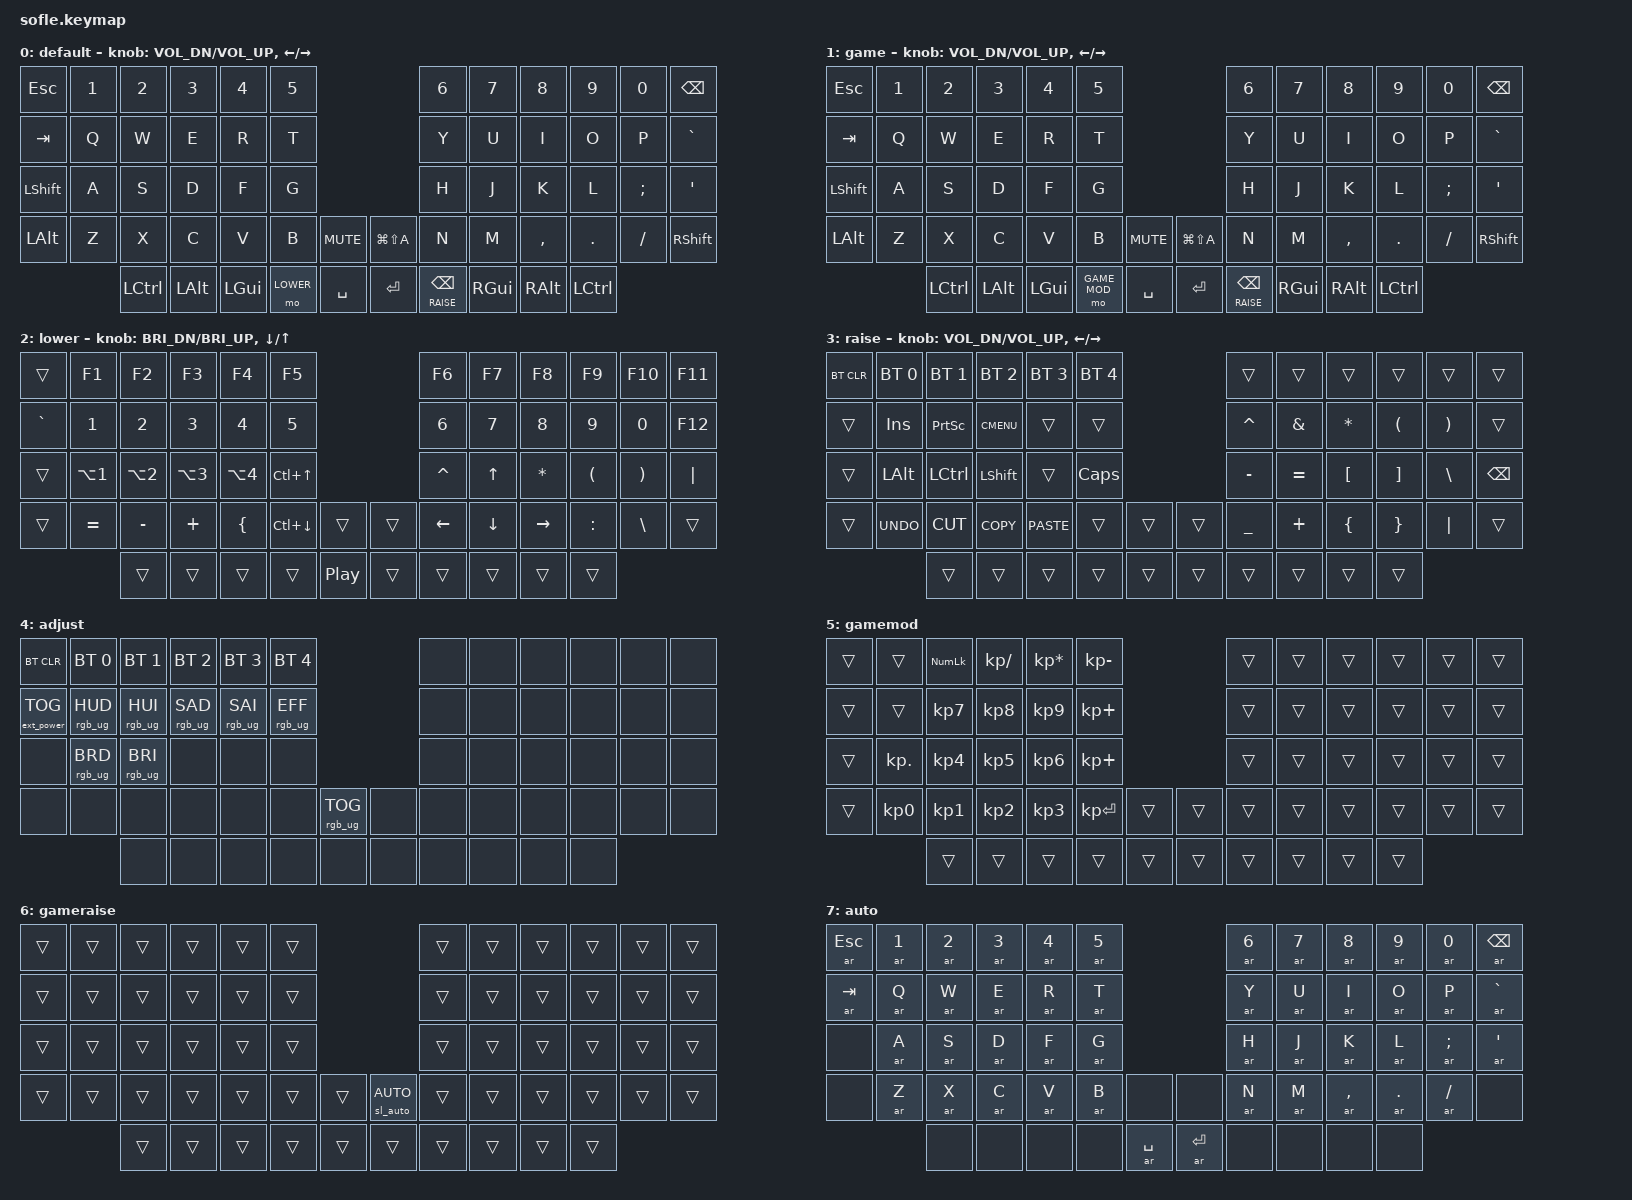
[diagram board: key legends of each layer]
/*
 * Copyright (c) 2020 The ZMK Contributors
 *
 * SPDX-License-Identifier: MIT
 */

#include <behaviors.dtsi>
#include <dt-bindings/zmk/keys.h>
#include <dt-bindings/zmk/bt.h>
#include <dt-bindings/zmk/rgb.h>
#include <dt-bindings/zmk/ext_power.h>

// GAME must sit below LOWER/RAISE so those layers still override it.
#define BASE 0
#define GAME 1
#define LOWER 2
#define RAISE 3
#define ADJUST 4
#define GAME_MOD 5
#define GAME_RAISE 6 // GAME + RAISE: knob arms auto-repeat
#define AUTO 7 // sticky: next key toggles auto-repeat

/ {

    behaviors {
        // &ar KEY: toggle auto-repeat of KEY with a random 200-1000 ms pause between taps
        ar: auto_repeat {
            compatible = "zmk,behavior-auto-repeat";
            #binding-cells = <1>;
            min-delay-ms = <200>;
            max-delay-ms = <1000>;
            hold-ms = <100>;
            game-layer = <GAME>;
        };

        // Sticky AUTO layer, 3 s to press the key to (un)repeat
        sl_auto: sticky_layer_auto {
            compatible = "zmk,behavior-sticky-key";
            #binding-cells = <1>;
            bindings = <&mo>;
            release-after-ms = <3000>;
            quick-release;
        };
    };

    combos {
        compatible = "zmk,combos";
        combo_backspace {
            timeout-ms = <50>;
            key-positions = <13 14>;
            layers = <BASE LOWER RAISE ADJUST>;
            bindings = <&kp BSPC>;
        };
        combo_return {
            timeout-ms = <50>;
            key-positions = <25 26>;
            layers = <BASE LOWER RAISE ADJUST>;
            bindings = <&kp RET>;
        };
        // Toggle GAME: press left + right encoder knobs together
        combo_game_toggle {
            timeout-ms = <100>;
            key-positions = <42 43>;
            layers = <BASE GAME>;
            bindings = <&tog GAME>;
        };
    };

   // Activate ADJUST layer by pressing raise and lower
    conditional_layers {
        compatible = "zmk,conditional-layers";
        adjust_layer {
            if-layers = <LOWER RAISE>;
            then-layer = <ADJUST>;
        };
        // Holding RAISE in GAME: right knob arms auto-repeat
        game_raise_layer {
            if-layers = <GAME RAISE>;
            then-layer = <GAME_RAISE>;
        };
    };

    keymap {
        compatible = "zmk,keymap";

        default_layer {
            display-name = "default";
// ------------------------------------------------------------------------------------------------------------
// |  ESC  |  1  |  2  |  3   |  4   |  5   |                   |  6   |  7    |  8    |  9   |   0   |   BKSPC   |
// |  TAB  |  Q  |  W  |  E   |  R   |  T   |                   |  Y   |  U    |  I    |  O   |   P   | ` |
// | SHIFT |  A  |  S  |  D   |  F   |  G   |                   |  H   |  J    |  K    |  L   |   ;   |   '   |
// | ALT |  Z  |  X  |  C   |  V   |  B   |  MUTE  |  | S_G_A |  N   |  M    |  ,    |  .   |   /   | SHIFT |
//               | CTRL| ALT  | GUI  | LOWER|  SPACE |  | ENTER | RAISE| GUI   | ALT   | CTRL  |
            bindings = <
&kp ESC &kp N1 &kp N2   &kp N3   &kp N4    &kp N5                           &kp N6 &kp N7    &kp N8    &kp N9   &kp N0   &kp BSPC
&kp TAB   &kp Q  &kp W    &kp E    &kp R     &kp T                            &kp Y  &kp U     &kp I     &kp O    &kp P    &kp GRAVE
&kp LSHFT   &kp A  &kp S    &kp D    &kp F     &kp G                            &kp H  &kp J     &kp K     &kp L    &kp SEMI &kp SQT
&kp LALT &kp Z  &kp X    &kp C    &kp V     &kp B      &kp C_MUTE &kp LG(LS(A)) &kp N  &kp M     &kp COMMA &kp DOT  &kp FSLH &kp RSHFT
                 &kp LCTRL &kp LALT &kp LGUI &mo LOWER  &kp SPACE    &kp RET  &lt RAISE BSPC  &kp RGUI &kp RALT  &kp LCTRL
            >;

            sensor-bindings = <&inc_dec_kp C_VOL_DN C_VOL_UP &inc_dec_kp LEFT RIGHT>;
        };

        game_layer {
            display-name = "game";
// Plain QWERTY without combos; LOWER key is replaced by GAME_MOD
// ------------------------------------------------------------------------------------------------------------
// |  ESC  |  1  |  2  |  3   |  4   |  5   |                   |  6   |  7    |  8    |  9   |   0   |   BKSPC   |
// |  TAB  |  Q  |  W  |  E   |  R   |  T   |                   |  Y   |  U    |  I    |  O   |   P   | ` |
// | SHIFT |  A  |  S  |  D   |  F   |  G   |                   |  H   |  J    |  K    |  L   |   ;   |   '   |
// | ALT |  Z  |  X  |  C   |  V   |  B   |  MUTE  |  | S_G_A |  N   |  M    |  ,    |  .   |   /   | SHIFT |
//               | CTRL| ALT  | GUI  | GMOD |  SPACE |  | ENTER | RAISE| GUI   | ALT   | CTRL  |
            bindings = <
&kp ESC &kp N1 &kp N2   &kp N3   &kp N4    &kp N5                           &kp N6 &kp N7    &kp N8    &kp N9   &kp N0   &kp BSPC
&kp TAB   &kp Q  &kp W    &kp E    &kp R     &kp T                            &kp Y  &kp U     &kp I     &kp O    &kp P    &kp GRAVE
&kp LSHFT   &kp A  &kp S    &kp D    &kp F     &kp G                            &kp H  &kp J     &kp K     &kp L    &kp SEMI &kp SQT
&kp LALT &kp Z  &kp X    &kp C    &kp V     &kp B      &kp C_MUTE &kp LG(LS(A)) &kp N  &kp M     &kp COMMA &kp DOT  &kp FSLH &kp RSHFT
                 &kp LCTRL &kp LALT &kp LGUI &mo GAME_MOD  &kp SPACE    &kp RET  &lt RAISE BSPC  &kp RGUI &kp RALT  &kp LCTRL
            >;

            sensor-bindings = <&inc_dec_kp C_VOL_DN C_VOL_UP &inc_dec_kp LEFT RIGHT>;
        };

        lower_layer {
            display-name = "lower";
// TODO: Some binds are waiting for shifted keycode support.
// ------------------------------------------------------------------------------------------------------------
// |       |  F1 |  F2 |  F3  |  F4  |  F5  |                   |  F6  |  F7   |  F8   |  F9  |  F10  |  F11  |
// |   `   |  1  |  2  |  3   |  4   |  5   |                   |  6   |  7    |  8    |  9   |   0   |  F12  |
// |       | OPT1| OPT2| OPT3 | OPT4 | C_UP |                   |  ^   |  UP   |  *    |  (   |   )   |   |   |
// |       |  =  |  -  |  +   |  {   | C_DN |        |  |       | LEFT | DOWN  | RIGHT |  :   |   \   |       |
//               |     |      |      |  PP  |        |  |       |      |       |       |      |
            bindings = <
&trans    &kp F1    &kp F2    &kp F3      &kp F4    &kp F5                    &kp F6    &kp F7   &kp F8    &kp F9    &kp F10   &kp F11
&kp GRAVE &kp N1    &kp N2    &kp N3      &kp N4    &kp N5                    &kp N6    &kp N7   &kp N8    &kp N9    &kp N0    &kp F12
&trans    &kp LA(N1) &kp LA(N2) &kp LA(N3) &kp LA(N4) &kp LC(UP)                 &kp CARET &kp UP   &kp ASTRK &kp LPAR  &kp RPAR  &kp PIPE
&trans    &kp EQUAL &kp MINUS &kp PLUS &kp LBRC  &kp LC(DOWN)   &trans &trans  &kp LEFT  &kp DOWN &kp RIGHT &kp COLON &kp BSLH  &trans
                    &trans    &trans      &trans    &trans     &kp C_PP &trans  &trans    &trans   &trans    &trans
            >;

           sensor-bindings = <&inc_dec_kp C_BRI_DN C_BRI_UP &inc_dec_kp DOWN UP>;
        };


        raise_layer {
            display-name = "raise";
// ------------------------------------------------------------------------------------------------------------
// | BTCLR | BT1  | BT2  |  BT3  |  BT4  |  BT5 |                |      |      |       |      |       |       |
// |       | INS  | PSCR | GUI   |       |      |                |  ^   |  &   |   *   |  (   |   )   |       |
// |       | ALT  | CTRL | SHIFT |       | CAPS |                |  -   |  =   |   [   |  ]   |   \   | BKSPC |
// |       | UNDO | CUT  | COPY  | PASTE |      |      |  |      |  _   |  +   |   {   |  }   |   |   |       |
//                |      |       |       |      |      |  |      |      |      |       |      |
            bindings = <
&bt BT_CLR &bt BT_SEL 0 &bt BT_SEL 1 &bt BT_SEL 2 &bt BT_SEL 3 &bt BT_SEL 4                  &trans    &trans    &trans   &trans    &trans  &trans
&trans     &kp INS      &kp PSCRN    &kp K_CMENU  &trans       &trans                        &kp CARET &kp AMPS  &kp ASTRK &kp LPAR  &kp RPAR  &trans
&trans     &kp LALT     &kp LCTRL    &kp LSHFT    &trans       &kp CLCK                      &kp MINUS &kp EQUAL &kp LBKT  &kp RBKT  &kp BSLH  &kp BSPC
&trans     &kp K_UNDO   &kp K_CUT    &kp K_COPY   &kp K_PASTE  &trans        &trans  &trans  &kp UNDER &kp PLUS  &kp LBRC  &kp RBRC  &kp PIPE  &trans
                        &trans       &trans       &trans       &trans        &trans  &trans  &trans    &trans    &trans   &trans
            >;

            sensor-bindings = <&inc_dec_kp C_VOL_DN C_VOL_UP &inc_dec_kp LEFT RIGHT>;
        };

        adjust_layer {
// ----------------------------------------------------------------------------------------------------------------------------
// | BTCLR  |  BT1    |  BT2    |   BT3   |   BT4   |   BT5   |                  |      |      |       |      |       |       |
// | EXTPWR | RGB_HUD | RGB_HUI | RGB_SAD | RGB_SAI | RGB_EFF |                  |      |      |       |      |       |       |
// |        | RGB_BRD | RGB_BRI |         |         |         |                  |      |      |       |      |       |       |
// |        |         |         |         |         |         | RGB_TOG | |      |      |      |       |      |       |       |
//                    |         |         |         |         |         | |      |      |      |       |      |
            display-name = "adjust";
            bindings = <
&bt BT_CLR        &bt BT_SEL 0    &bt BT_SEL 1    &bt BT_SEL 2    &bt BT_SEL 3    &bt BT_SEL 4                            &none &none &none &none &none &none
&ext_power EP_TOG &rgb_ug RGB_HUD &rgb_ug RGB_HUI &rgb_ug RGB_SAD &rgb_ug RGB_SAI &rgb_ug RGB_EFF                         &none &none &none &none &none &none
&none             &rgb_ug RGB_BRD &rgb_ug RGB_BRI &none           &none           &none                                   &none &none &none &none &none &none
&none             &none           &none           &none           &none           &none            &rgb_ug RGB_TOG &none  &none &none &none &none &none &none
                                  &none           &none           &none           &none            &none           &none  &none &none &none &none
            >;
        };

        game_mod_layer {
            display-name = "gamemod";
// Left half numpad, right half transparent
// ------------------------------------------------------------------------------------------------------------
// |       |     | NUM  |  /   |  *   |  -   |                   |      |       |       |      |       |       |
// |       |     |  7   |  8   |  9   |  +   |                   |      |       |       |      |       |       |
// |       |  .  |  4   |  5   |  6   |  +   |                   |      |       |       |      |       |       |
// |       |  0  |  1   |  2   |  3   | ENTR |        |  |       |      |       |       |      |       |       |
//               |     |      |      |      |        |  |       |      |       |       |      |
            bindings = <
&trans &trans    &kp KP_NUM &kp KP_SLASH &kp KP_MULTIPLY &kp KP_MINUS                 &trans &trans &trans &trans &trans &trans
&trans &trans    &kp KP_N7  &kp KP_N8    &kp KP_N9       &kp KP_PLUS                  &trans &trans &trans &trans &trans &trans
&trans &kp KP_DOT &kp KP_N4 &kp KP_N5    &kp KP_N6       &kp KP_PLUS                  &trans &trans &trans &trans &trans &trans
&trans &kp KP_N0 &kp KP_N1  &kp KP_N2    &kp KP_N3       &kp KP_ENTER  &trans  &trans &trans &trans &trans &trans &trans &trans
                 &trans     &trans       &trans          &trans        &trans  &trans &trans &trans &trans &trans
            >;
        };

        game_raise_layer {
            display-name = "gameraise";
// Only the right knob does something: tap it, then tap a key to start/stop repeating it
            bindings = <
&trans &trans &trans &trans &trans &trans                 &trans &trans &trans &trans &trans &trans
&trans &trans &trans &trans &trans &trans                 &trans &trans &trans &trans &trans &trans
&trans &trans &trans &trans &trans &trans                 &trans &trans &trans &trans &trans &trans
&trans &trans &trans &trans &trans &trans &trans &sl_auto AUTO &trans &trans &trans &trans &trans &trans
       &trans &trans &trans &trans &trans &trans &trans &trans &trans &trans
            >;
        };

        auto_layer {
            display-name = "auto";
// Mirrors GAME; every plain key toggles its own auto-repeat, modifiers/layer keys do nothing
            bindings = <
&ar ESC  &ar N1 &ar N2 &ar N3 &ar N4 &ar N5                  &ar N6 &ar N7 &ar N8    &ar N9  &ar N0   &ar BSPC
&ar TAB  &ar Q  &ar W  &ar E  &ar R  &ar T                   &ar Y  &ar U  &ar I     &ar O   &ar P    &ar GRAVE
&none    &ar A  &ar S  &ar D  &ar F  &ar G                   &ar H  &ar J  &ar K     &ar L   &ar SEMI &ar SQT
&none    &ar Z  &ar X  &ar C  &ar V  &ar B  &none  &none     &ar N  &ar M  &ar COMMA &ar DOT &ar FSLH &none
         &none  &none  &none  &none  &ar SPACE               &ar RET &none &none     &none   &none
            >;
        };

    };
};
